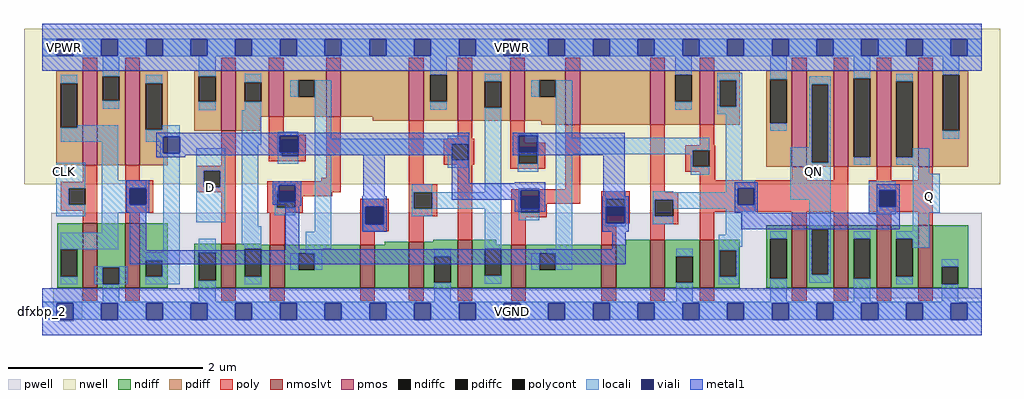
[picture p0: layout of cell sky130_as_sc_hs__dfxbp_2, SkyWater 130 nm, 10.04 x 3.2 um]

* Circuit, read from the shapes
.subckt sky130_as_sc_hs__dfxbp_2 VNB VPB VPWR VGND CLK QN D Q
XM1 VGND CLK n1 VNB sky130_fd_pr__nfet_01v8_lvt w=0.665 l=0.15
XM2 n2 n1 VGND VNB sky130_fd_pr__nfet_01v8_lvt w=0.665 l=0.15
XM3 n3 D VGND VNB sky130_fd_pr__nfet_01v8_lvt w=0.455 l=0.15
XM4 n4 n1 n3 VNB sky130_fd_pr__nfet_01v8_lvt w=0.445 l=0.15
XM5 n5 n2 n4 VNB sky130_fd_pr__nfet_01v8_lvt w=0.445 l=0.15
XM6 VGND n6 n5 VNB sky130_fd_pr__nfet_01v8_lvt w=0.475 l=0.15
XM7 n6 n4 VGND VNB sky130_fd_pr__nfet_01v8_lvt w=0.495 l=0.15
XM8 n7 n2 n6 VNB sky130_fd_pr__nfet_01v8_lvt w=0.445 l=0.15
XM9 n8 n1 n7 VNB sky130_fd_pr__nfet_01v8_lvt w=0.445 l=0.15
XM10 VGND n9 n8 VNB sky130_fd_pr__nfet_01v8_lvt w=0.495 l=0.15
XM11 n9 n7 VGND VNB sky130_fd_pr__nfet_01v8_lvt w=0.495 l=0.15
XM12 QN n7 VGND VNB sky130_fd_pr__nfet_01v8_lvt w=0.645 l=0.15 m=2
XM13 Q n9 VGND VNB sky130_fd_pr__nfet_01v8_lvt w=0.645 l=0.15 m=2
XM14 VPWR CLK n1 VPB sky130_fd_pr__pfet_01v8 w=0.975 l=0.15
XM15 n2 n1 VPWR VPB sky130_fd_pr__pfet_01v8 w=0.975 l=0.15
XM16 n3 D VPWR VPB sky130_fd_pr__pfet_01v8 w=0.62 l=0.15
XM17 n4 n2 n3 VPB sky130_fd_pr__pfet_01v8 w=0.475 l=0.15
XM18 n10 n1 n4 VPB sky130_fd_pr__pfet_01v8 w=0.475 l=0.15
XM19 VPWR n6 n10 VPB sky130_fd_pr__pfet_01v8 w=0.515 l=0.15
XM20 n6 n4 VPWR VPB sky130_fd_pr__pfet_01v8 w=0.515 l=0.15
XM21 n7 n1 n6 VPB sky130_fd_pr__pfet_01v8 w=0.515 l=0.15
XM22 n11 n2 n7 VPB sky130_fd_pr__pfet_01v8 w=0.555 l=0.15
XM23 VPWR n9 n11 VPB sky130_fd_pr__pfet_01v8 w=0.555 l=0.15
XM24 n9 n7 VPWR VPB sky130_fd_pr__pfet_01v8 w=0.555 l=0.15
XM25 QN n7 VPWR VPB sky130_fd_pr__pfet_01v8 w=0.99 l=0.15 m=2
XM26 Q n9 VPWR VPB sky130_fd_pr__pfet_01v8 w=0.99 l=0.15 m=2
.ends

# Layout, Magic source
magic
tech sky130A
magscale 1 2
<< nwell >>
rect -38 262 1970 582
<< pwell >>
rect 18 48 1932 204
rect 22 44 1608 48
rect 22 -15 82 44
rect 1652 28 1932 48
rect 22 -20 64 -15
<< pmos >>
rect 83 301 113 496
rect 170 301 200 496
rect 368 372 398 496
rect 466 401 496 496
rect 584 401 614 496
rect 754 393 784 496
rect 854 393 884 496
rect 962 393 992 496
rect 1076 385 1106 496
rect 1250 385 1280 496
rect 1352 385 1382 496
rect 1542 298 1572 496
rect 1628 298 1658 496
rect 1716 298 1746 496
rect 1802 298 1832 496
<< nmoslvt >>
rect 83 49 113 182
rect 170 49 200 182
rect 368 49 398 140
rect 468 49 498 138
rect 654 49 684 138
rect 754 49 784 144
rect 854 49 884 148
rect 964 49 994 138
rect 1150 49 1180 138
rect 1250 49 1280 148
rect 1352 49 1382 148
rect 1542 49 1572 178
rect 1628 49 1658 178
rect 1716 49 1746 178
rect 1802 49 1832 178
<< ndiff >>
rect 30 128 83 182
rect 30 72 38 128
rect 72 72 83 128
rect 30 49 83 72
rect 113 91 170 182
rect 113 57 124 91
rect 158 57 170 91
rect 113 49 170 57
rect 200 106 258 182
rect 200 72 212 106
rect 246 72 258 106
rect 200 49 258 72
rect 312 122 368 140
rect 312 64 322 122
rect 356 64 368 122
rect 312 49 368 64
rect 398 138 448 140
rect 804 144 854 148
rect 704 138 754 144
rect 398 130 468 138
rect 398 72 416 130
rect 450 72 468 130
rect 398 49 468 72
rect 498 120 654 138
rect 498 86 526 120
rect 560 86 654 120
rect 498 49 654 86
rect 684 49 754 138
rect 784 114 854 144
rect 784 60 806 114
rect 840 60 854 114
rect 784 49 854 60
rect 884 138 934 148
rect 1489 150 1542 178
rect 1200 138 1250 148
rect 884 130 964 138
rect 884 74 910 130
rect 944 74 964 130
rect 884 49 964 74
rect 994 120 1150 138
rect 994 86 1022 120
rect 1056 86 1150 120
rect 994 49 1150 86
rect 1180 49 1250 138
rect 1280 114 1352 148
rect 1280 60 1304 114
rect 1338 60 1352 114
rect 1280 49 1352 60
rect 1382 126 1435 148
rect 1382 72 1393 126
rect 1427 72 1435 126
rect 1382 49 1435 72
rect 1489 68 1497 150
rect 1531 68 1542 150
rect 1489 49 1542 68
rect 1572 170 1628 178
rect 1572 76 1583 170
rect 1617 76 1628 170
rect 1572 49 1628 76
rect 1658 150 1716 178
rect 1658 68 1669 150
rect 1703 68 1716 150
rect 1658 49 1716 68
rect 1746 150 1802 178
rect 1746 72 1757 150
rect 1791 72 1802 150
rect 1746 49 1802 72
rect 1832 92 1905 178
rect 1832 57 1850 92
rect 1884 57 1905 92
rect 1832 49 1905 57
<< pdiff >>
rect 28 470 83 496
rect 28 378 38 470
rect 72 378 83 470
rect 28 301 83 378
rect 113 484 170 496
rect 113 434 124 484
rect 158 434 170 484
rect 113 301 170 434
rect 200 470 258 496
rect 200 374 212 470
rect 246 374 258 470
rect 200 301 258 374
rect 312 484 368 496
rect 312 432 322 484
rect 356 432 368 484
rect 312 372 368 432
rect 398 472 466 496
rect 398 432 416 472
rect 450 432 466 472
rect 398 401 466 432
rect 496 476 584 496
rect 496 442 526 476
rect 560 442 584 476
rect 496 401 584 442
rect 614 401 754 496
rect 398 372 448 401
rect 680 393 754 401
rect 784 488 854 496
rect 784 432 798 488
rect 832 432 854 488
rect 784 393 854 432
rect 884 474 962 496
rect 884 420 910 474
rect 944 420 962 474
rect 884 393 962 420
rect 992 476 1076 496
rect 992 442 1022 476
rect 1056 442 1076 476
rect 992 393 1076 442
rect 1026 385 1076 393
rect 1106 385 1250 496
rect 1280 488 1352 496
rect 1280 432 1302 488
rect 1336 432 1352 488
rect 1280 385 1352 432
rect 1382 476 1435 496
rect 1382 422 1393 476
rect 1427 422 1435 476
rect 1382 385 1435 422
rect 1489 478 1542 496
rect 1489 388 1497 478
rect 1531 388 1542 478
rect 1489 298 1542 388
rect 1572 468 1628 496
rect 1572 306 1583 468
rect 1617 306 1628 468
rect 1572 298 1628 306
rect 1658 480 1716 496
rect 1658 318 1669 480
rect 1703 318 1716 480
rect 1658 298 1716 318
rect 1746 474 1802 496
rect 1746 318 1757 474
rect 1791 318 1802 474
rect 1746 298 1802 318
rect 1832 488 1905 496
rect 1832 372 1852 488
rect 1886 372 1905 488
rect 1832 298 1905 372
<< ndiffc >>
rect 38 72 72 128
rect 124 57 158 91
rect 212 72 246 106
rect 322 64 356 122
rect 416 72 450 130
rect 526 86 560 120
rect 806 60 840 114
rect 910 74 944 130
rect 1022 86 1056 120
rect 1304 60 1338 114
rect 1393 72 1427 126
rect 1497 68 1531 150
rect 1583 76 1617 170
rect 1669 68 1703 150
rect 1757 72 1791 150
rect 1850 57 1884 92
<< pdiffc >>
rect 38 378 72 470
rect 124 434 158 484
rect 212 374 246 470
rect 322 432 356 484
rect 416 432 450 472
rect 526 442 560 476
rect 798 432 832 488
rect 910 420 944 474
rect 1022 442 1056 476
rect 1302 432 1336 488
rect 1393 422 1427 476
rect 1497 388 1531 478
rect 1583 306 1617 468
rect 1669 318 1703 480
rect 1757 318 1791 474
rect 1852 372 1886 488
<< poly >>
rect 83 496 113 522
rect 170 496 200 522
rect 368 496 398 522
rect 466 496 496 522
rect 584 496 614 522
rect 754 496 784 522
rect 854 496 884 522
rect 962 496 992 522
rect 1076 496 1106 522
rect 1250 496 1280 522
rect 1352 496 1382 522
rect 1542 496 1572 522
rect 1628 496 1658 522
rect 1716 496 1746 522
rect 1802 496 1832 522
rect 83 267 113 301
rect 38 254 113 267
rect 38 220 54 254
rect 88 220 113 254
rect 38 208 113 220
rect 83 182 113 208
rect 170 270 200 301
rect 368 300 398 372
rect 466 364 496 401
rect 466 354 542 364
rect 466 320 492 354
rect 526 320 542 354
rect 466 310 542 320
rect 316 290 398 300
rect 170 254 228 270
rect 170 220 180 254
rect 214 220 228 254
rect 316 256 332 290
rect 366 256 398 290
rect 584 276 614 401
rect 574 268 614 276
rect 316 246 398 256
rect 170 204 228 220
rect 170 182 200 204
rect 368 140 398 246
rect 462 248 614 268
rect 462 214 482 248
rect 520 246 614 248
rect 754 262 784 393
rect 854 356 884 393
rect 826 346 888 356
rect 826 312 842 346
rect 876 312 888 346
rect 826 302 888 312
rect 962 348 992 393
rect 962 338 1034 348
rect 962 304 980 338
rect 1018 304 1034 338
rect 754 246 812 262
rect 520 238 596 246
rect 520 214 536 238
rect 462 204 536 214
rect 654 216 712 232
rect 468 138 498 204
rect 654 182 664 216
rect 702 182 712 216
rect 654 166 712 182
rect 754 212 764 246
rect 802 212 812 246
rect 754 196 812 212
rect 654 138 684 166
rect 754 144 784 196
rect 854 148 884 302
rect 962 294 1034 304
rect 1076 252 1106 385
rect 964 238 1106 252
rect 964 204 984 238
rect 1022 222 1106 238
rect 1150 232 1208 248
rect 1022 204 1038 222
rect 964 194 1038 204
rect 1150 198 1160 232
rect 1198 198 1208 232
rect 964 138 994 194
rect 1150 182 1208 198
rect 1250 246 1280 385
rect 1352 342 1382 385
rect 1322 332 1384 342
rect 1322 298 1338 332
rect 1372 298 1384 332
rect 1322 288 1384 298
rect 1352 270 1384 288
rect 1542 270 1572 298
rect 1628 270 1658 298
rect 1716 270 1746 298
rect 1802 270 1832 298
rect 1250 230 1308 246
rect 1250 196 1260 230
rect 1298 196 1308 230
rect 1150 138 1180 182
rect 1250 180 1308 196
rect 1352 206 1658 270
rect 1700 250 1832 270
rect 1700 216 1722 250
rect 1756 216 1832 250
rect 1700 206 1832 216
rect 1250 148 1280 180
rect 1352 148 1382 206
rect 1542 178 1572 206
rect 1628 178 1658 206
rect 1716 178 1746 206
rect 1802 178 1832 206
rect 83 23 113 49
rect 170 23 200 49
rect 368 23 398 49
rect 468 23 498 49
rect 654 23 684 49
rect 754 23 784 49
rect 854 23 884 49
rect 964 23 994 49
rect 1150 23 1180 49
rect 1250 23 1280 49
rect 1352 23 1382 49
rect 1542 23 1572 49
rect 1628 23 1658 49
rect 1716 23 1746 49
rect 1802 23 1832 49
<< polycont >>
rect 54 220 88 254
rect 492 320 526 354
rect 180 220 214 254
rect 332 256 366 290
rect 482 214 520 248
rect 842 312 876 346
rect 980 304 1018 338
rect 664 182 702 216
rect 764 212 802 246
rect 984 204 1022 238
rect 1160 198 1198 232
rect 1338 298 1372 332
rect 1260 196 1298 230
rect 1722 216 1756 250
<< locali >>
rect 0 561 1932 562
rect 0 527 29 561
rect 63 527 121 561
rect 155 527 213 561
rect 247 527 305 561
rect 339 527 397 561
rect 431 527 489 561
rect 523 527 581 561
rect 615 527 673 561
rect 707 527 765 561
rect 799 527 857 561
rect 891 527 949 561
rect 983 527 1041 561
rect 1075 527 1133 561
rect 1167 527 1225 561
rect 1259 527 1317 561
rect 1351 527 1409 561
rect 1443 527 1501 561
rect 1535 527 1593 561
rect 1627 527 1685 561
rect 1719 527 1777 561
rect 1811 527 1869 561
rect 1903 527 1932 561
rect 0 526 1932 527
rect 38 470 72 488
rect 124 484 158 526
rect 124 418 158 434
rect 212 470 246 488
rect 72 378 156 384
rect 38 350 156 378
rect 322 484 356 526
rect 322 414 356 432
rect 416 472 450 490
rect 798 488 832 526
rect 510 442 526 476
rect 416 414 450 432
rect 246 374 282 384
rect 212 360 282 374
rect 212 350 248 360
rect 28 254 88 306
rect 28 220 54 254
rect 28 196 88 220
rect 122 270 156 350
rect 242 326 248 350
rect 410 344 450 414
rect 484 362 526 370
rect 242 318 282 326
rect 122 254 214 270
rect 122 220 180 254
rect 122 204 214 220
rect 122 162 156 204
rect 38 128 156 162
rect 248 122 282 318
rect 316 290 376 336
rect 316 256 332 290
rect 366 256 376 290
rect 316 184 376 256
rect 410 176 444 344
rect 484 328 488 362
rect 484 320 492 328
rect 484 304 526 320
rect 560 356 594 476
rect 798 416 832 432
rect 910 474 944 490
rect 1302 488 1336 526
rect 1006 442 1022 476
rect 834 356 876 362
rect 560 346 876 356
rect 560 322 842 346
rect 478 260 520 264
rect 478 248 486 260
rect 478 214 482 248
rect 478 198 520 214
rect 212 106 282 122
rect 38 56 72 72
rect 108 91 174 94
rect 108 57 124 91
rect 158 57 174 91
rect 108 56 174 57
rect 246 72 282 106
rect 212 56 282 72
rect 322 122 356 150
rect 410 138 450 176
rect 560 164 594 322
rect 834 312 842 322
rect 834 296 876 312
rect 760 246 802 262
rect 910 246 944 420
rect 978 362 1020 366
rect 978 304 980 362
rect 1018 304 1020 362
rect 978 288 1020 304
rect 1056 358 1090 476
rect 1302 416 1336 432
rect 1388 476 1440 492
rect 1388 422 1393 476
rect 1427 422 1440 476
rect 1388 406 1440 422
rect 1056 332 1372 358
rect 1056 324 1338 332
rect 660 216 702 232
rect 660 180 664 216
rect 760 212 764 246
rect 802 212 944 246
rect 760 196 802 212
rect 660 166 702 180
rect 124 21 158 56
rect 322 21 356 64
rect 416 130 450 138
rect 542 130 594 164
rect 910 130 944 212
rect 980 250 1022 254
rect 980 204 984 250
rect 980 188 1022 204
rect 1056 130 1090 324
rect 1334 298 1338 324
rect 1334 282 1372 298
rect 1406 270 1440 406
rect 1497 478 1531 526
rect 1497 372 1531 388
rect 1578 468 1622 484
rect 1578 338 1583 468
rect 1538 306 1583 338
rect 1617 306 1622 468
rect 1406 254 1466 270
rect 1158 232 1200 248
rect 1158 182 1160 232
rect 1198 182 1200 232
rect 1158 176 1200 182
rect 1256 246 1298 248
rect 1406 246 1430 254
rect 1256 230 1430 246
rect 1256 196 1260 230
rect 1298 220 1430 230
rect 1464 220 1466 254
rect 1538 230 1622 306
rect 1669 480 1703 526
rect 1669 302 1703 318
rect 1757 474 1791 490
rect 1852 488 1886 526
rect 1852 356 1886 372
rect 1791 318 1824 336
rect 1757 302 1824 318
rect 1790 284 1824 302
rect 1298 212 1466 220
rect 1256 180 1298 196
rect 1406 206 1466 212
rect 1406 158 1440 206
rect 1578 170 1622 230
rect 1700 250 1756 268
rect 1700 216 1722 250
rect 1700 200 1756 216
rect 1790 204 1846 284
rect 1391 134 1440 158
rect 1497 150 1531 166
rect 542 120 576 130
rect 510 86 526 120
rect 560 86 576 120
rect 806 114 840 130
rect 416 56 450 72
rect 806 21 840 60
rect 1038 120 1090 130
rect 1006 86 1022 120
rect 1056 86 1090 120
rect 1304 114 1338 130
rect 910 58 944 74
rect 1304 21 1338 60
rect 1391 126 1432 134
rect 1391 72 1393 126
rect 1427 72 1432 126
rect 1391 56 1432 72
rect 1497 21 1531 68
rect 1578 76 1583 170
rect 1617 76 1622 170
rect 1790 166 1824 204
rect 1578 60 1622 76
rect 1669 150 1703 166
rect 1669 21 1703 68
rect 1757 150 1824 166
rect 1791 132 1824 150
rect 1757 56 1791 72
rect 1850 92 1884 108
rect 1850 21 1884 57
rect 0 17 1932 21
rect 0 -17 29 17
rect 63 -17 121 17
rect 155 -17 213 17
rect 247 -17 305 17
rect 339 -17 397 17
rect 431 -17 489 17
rect 523 -17 581 17
rect 615 -17 673 17
rect 707 -17 765 17
rect 799 -17 857 17
rect 891 -17 949 17
rect 983 -17 1041 17
rect 1075 -17 1133 17
rect 1167 -17 1225 17
rect 1259 -17 1317 17
rect 1351 -17 1409 17
rect 1443 -17 1501 17
rect 1535 -17 1593 17
rect 1627 -17 1685 17
rect 1719 -17 1777 17
rect 1811 -17 1869 17
rect 1903 -17 1932 17
<< viali >>
rect 29 527 63 561
rect 121 527 155 561
rect 213 527 247 561
rect 305 527 339 561
rect 397 527 431 561
rect 489 527 523 561
rect 581 527 615 561
rect 673 527 707 561
rect 765 527 799 561
rect 857 527 891 561
rect 949 527 983 561
rect 1041 527 1075 561
rect 1133 527 1167 561
rect 1225 527 1259 561
rect 1317 527 1351 561
rect 1409 527 1443 561
rect 1501 527 1535 561
rect 1593 527 1627 561
rect 1685 527 1719 561
rect 1777 527 1811 561
rect 1869 527 1903 561
rect 248 326 282 360
rect 180 220 214 254
rect 488 354 526 362
rect 488 328 492 354
rect 492 328 526 354
rect 486 248 520 260
rect 486 226 520 248
rect 980 338 1018 362
rect 980 328 1018 338
rect 664 182 702 216
rect 664 180 702 182
rect 984 238 1022 250
rect 984 212 1022 238
rect 1160 198 1198 216
rect 1160 182 1198 198
rect 1430 220 1464 254
rect 1722 216 1756 250
rect 29 -17 63 17
rect 121 -17 155 17
rect 213 -17 247 17
rect 305 -17 339 17
rect 397 -17 431 17
rect 489 -17 523 17
rect 581 -17 615 17
rect 673 -17 707 17
rect 765 -17 799 17
rect 857 -17 891 17
rect 949 -17 983 17
rect 1041 -17 1075 17
rect 1133 -17 1167 17
rect 1225 -17 1259 17
rect 1317 -17 1351 17
rect 1409 -17 1443 17
rect 1501 -17 1535 17
rect 1593 -17 1627 17
rect 1685 -17 1719 17
rect 1777 -17 1811 17
rect 1869 -17 1903 17
<< metal1 >>
rect 0 561 1932 592
rect 0 527 29 561
rect 63 527 121 561
rect 155 527 213 561
rect 247 527 305 561
rect 339 527 397 561
rect 431 527 489 561
rect 523 527 581 561
rect 615 527 673 561
rect 707 527 765 561
rect 799 527 857 561
rect 891 527 949 561
rect 983 527 1041 561
rect 1075 527 1133 561
rect 1167 527 1225 561
rect 1259 527 1317 561
rect 1351 527 1409 561
rect 1443 527 1501 561
rect 1535 527 1593 561
rect 1627 527 1685 561
rect 1719 527 1777 561
rect 1811 527 1869 561
rect 1903 527 1932 561
rect 0 496 1932 527
rect 234 362 878 368
rect 234 360 488 362
rect 234 326 248 360
rect 282 328 488 360
rect 526 328 878 362
rect 282 326 878 328
rect 234 322 878 326
rect 968 362 1198 368
rect 968 328 980 362
rect 1018 328 1198 362
rect 968 322 1198 328
rect 234 318 294 322
rect 172 254 220 270
rect 172 220 180 254
rect 214 220 220 254
rect 474 260 532 268
rect 474 226 486 260
rect 520 226 532 260
rect 660 238 704 322
rect 842 264 878 322
rect 972 264 1034 266
rect 842 250 1034 264
rect 474 220 532 226
rect 172 204 220 220
rect 500 218 532 220
rect 180 126 214 204
rect 500 128 528 218
rect 658 216 708 238
rect 842 230 984 250
rect 658 180 664 216
rect 702 180 708 216
rect 972 212 984 230
rect 1022 212 1034 250
rect 1154 238 1198 322
rect 1424 254 1472 266
rect 972 206 1034 212
rect 1152 216 1206 238
rect 658 164 708 180
rect 1152 182 1160 216
rect 1198 182 1206 216
rect 1424 220 1430 254
rect 1464 220 1472 254
rect 1424 204 1472 220
rect 1716 250 1764 262
rect 1716 216 1722 250
rect 1756 216 1764 250
rect 1716 204 1764 216
rect 1152 164 1206 182
rect 1438 170 1764 204
rect 1172 128 1200 164
rect 500 126 1200 128
rect 180 98 1200 126
rect 0 17 1932 48
rect 0 -17 29 17
rect 63 -17 121 17
rect 155 -17 213 17
rect 247 -17 305 17
rect 339 -17 397 17
rect 431 -17 489 17
rect 523 -17 581 17
rect 615 -17 673 17
rect 707 -17 765 17
rect 799 -17 857 17
rect 891 -17 949 17
rect 983 -17 1041 17
rect 1075 -17 1133 17
rect 1167 -17 1225 17
rect 1259 -17 1317 17
rect 1351 -17 1409 17
rect 1443 -17 1501 17
rect 1535 -17 1593 17
rect 1627 -17 1685 17
rect 1719 -17 1777 17
rect 1811 -17 1869 17
rect 1903 -17 1932 17
rect 0 -48 1932 -17
<< labels >>
rlabel comment s 0 0 0 0 4 dfxbp_2
flabel locali s 29 272 63 306 0 FreeSans 400 0 0 0 CLK
port 5 nsew clock input
flabel locali s 46 289 46 289 0 FreeSans 400 0 0 0 CLK
flabel locali s 329 238 363 272 0 FreeSans 200 0 0 0 D
port 7 nsew signal input
flabel locali s 346 255 346 255 0 FreeSans 200 0 0 0 D
flabel locali s 1569 272 1603 306 0 FreeSans 200 0 0 0 QN
port 6 nsew signal output
flabel locali s 1586 289 1586 289 0 FreeSans 200 0 0 0 QN
flabel pwell s 29 -17 63 17 0 FreeSans 200 0 0 0 VNB
port 1 nsew ground bidirectional
flabel pwell s 46 0 46 0 0 FreeSans 200 0 0 0 VNB
flabel metal1 s 29 -17 63 17 0 FreeSans 200 0 0 0 VGND
port 4 nsew ground bidirectional abutment
flabel metal1 s 29 527 63 561 0 FreeSans 200 0 0 0 VPWR
port 3 nsew power bidirectional abutment
flabel nwell s 29 527 63 561 0 FreeSans 200 0 0 0 VPB
port 2 nsew power bidirectional
flabel nwell s 46 544 46 544 0 FreeSans 200 0 0 0 VPB
rlabel metal1 s 0 -48 1932 48 1 VGND
port 4 nsew ground bidirectional abutment
rlabel metal1 s 0 496 1932 592 1 VPWR
port 3 nsew power bidirectional abutment
flabel locali s 1807 221 1841 255 0 FreeSans 200 0 0 0 Q
port 8 nsew signal output
flabel locali s 1824 238 1824 238 0 FreeSans 200 0 0 0 Q
<< properties >>
string FIXED_BBOX 0 0 1748 544
string GDS_FILE $PDKPATH/libs.ref/sky130_as_sc_hs/gds/sky130_as_sc_hs__dfxbp_2.gds
string LEFclass CORE
string LEFsite unithd
string LEFsymmetry X Y R90
string MASKHINTS_LVTN 0 -4 1932 218
string MASKHINTS_NSDM 0 -38 1932 207
string MASKHINTS_PSDM 0 272 1932 582
<< end >>
